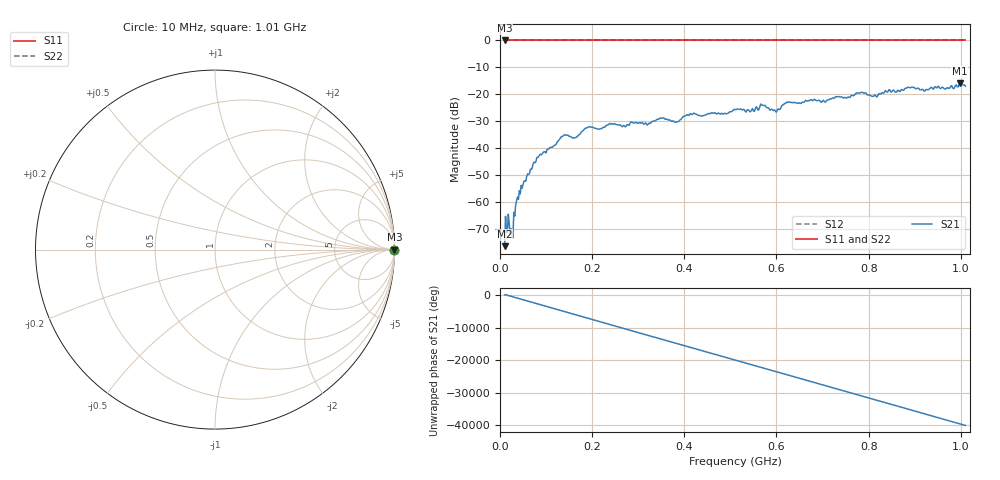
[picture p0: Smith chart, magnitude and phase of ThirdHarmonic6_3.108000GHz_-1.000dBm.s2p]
! 8/17/2025 9:11:24 AM
! C:\ANRITSUVNA\TEMP\TEMP.S2P
! CHANNEL.1
! TR.MEASUREMENT
! RAW.DATA
! RF.CORRECTION.OFF
! AVERAGING.OFF
! IF.BANDWIDTH: 5KHZ
! SWEEPTYPE:  FREQ.SWEEP(Linear)
! Reference Plane Port Info
! PORT:  PORT1  PORT2
! DISTANCE:  0  m  0  m
! TIME:  0  s  0  s
! PHASE.OFFSET:  0  deg.  0  deg.
! LOSS:  0  dB  0  dB
! REF.LOSS:  0  dB  0  dB
! REF.FREQ:  0  Hz  0  Hz
! Power Info
! POWER:  -20  dBm  -20  dBm
! EFF.POWER:  -20  dBm  -20  dBm
! SOURCE.ATTEN:  0  dB  0  dB
! TEST.ATTEN:  0  dB  0  dB
# GHZ S RI R 50.0
! FREQ.GHZ  S11RE  S11IM  S21RE  S21IM  S12RE  S12IM  S22RE  S22IM
!; PortSelection: Port_12
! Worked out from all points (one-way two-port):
!   501 points, 10 MHz to 1.01 GHz, reference 50 ohm
!   highest |S21| = -15.87 dB at 998 MHz (marker M1); lowest = -76.5 dB at 10 MHz (marker M2)
!   lowest |S11| = 0.0 dB at 10 MHz (marker M3)
!   |S11| at or under -10 dB: nowhere
!   |S22| runs from 0.0 to 0.0 dB; largest |S21 - S12| = 1.1
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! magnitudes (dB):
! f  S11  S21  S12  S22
! 10 MHz  0.0  -76.5  0.0  0.0
! 16 MHz  0.0  -71.0  0.0  0.0
! 24 MHz  0.0  -69.9  0.0  0.0
! 26 MHz  0.0  -72.5  0.0  0.0
! 34 MHz  0.0  -61.3  0.0  0.0
! 42 MHz  0.0  -55.9  0.0  0.0
! 84 MHz  0.0  -43.2  0.0  0.0
! 136 MHz  0.0  -35.7  0.0  0.0
! 162 MHz  0.0  -36.3  0.0  0.0
! 178 MHz  0.0  -33.8  0.0  0.0
! 344 MHz  0.0  -29.3  0.0  0.0
! 384 MHz  0.0  -30.2  0.0  0.0
! 416 MHz  0.0  -27.5  0.0  0.0
! 510 MHz  0.0  -25.7  0.0  0.0
! 548 MHz  0.0  -25.3  0.0  0.0
! 570 MHz  0.0  -24.2  0.0  0.0
! 598 MHz  0.0  -26.4  0.0  0.0
! 624 MHz  0.0  -23.0  0.0  0.0
! 678 MHz  0.0  -22.4  0.0  0.0
! 844 MHz  0.0  -18.3  0.0  0.0
! 998 MHz  0.0  -15.9  0.0  0.0
! 1.01 GHz  0.0  -17.0  0.0  0.0
